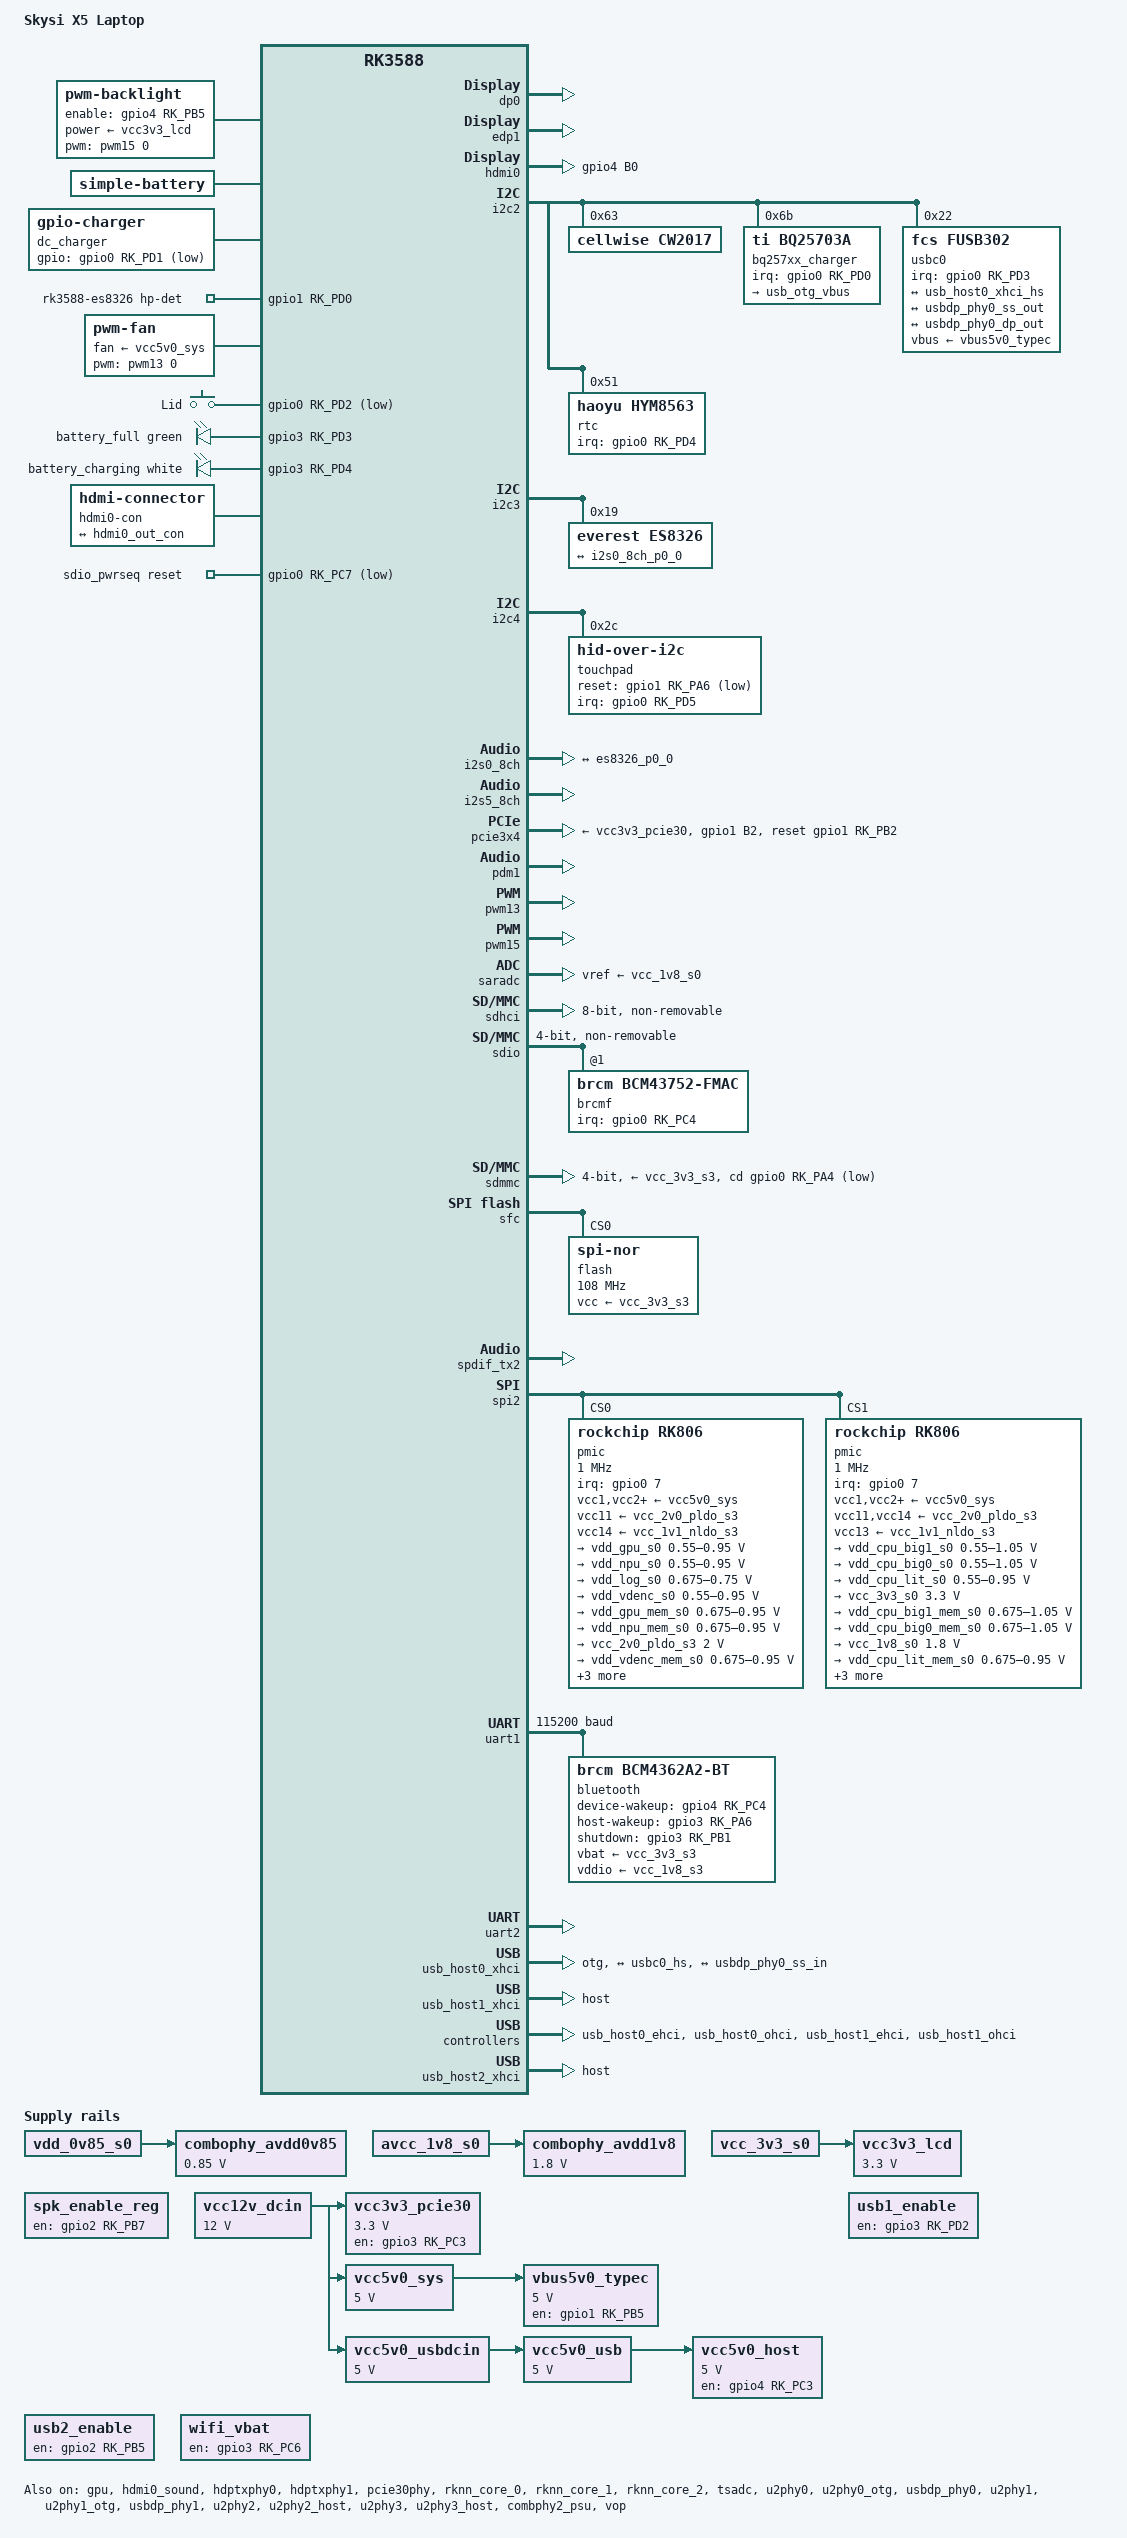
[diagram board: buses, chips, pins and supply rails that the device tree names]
// SPDX-License-Identifier: (GPL-2.0+ OR MIT)
/*
 * Copyright (c) 2026 Rockchip Electronics Co., Ltd.
 * Copyright (c) 2026 bingo1991
 */

/dts-v1/;

#include <dt-bindings/clock/rockchip,rk3588-cru.h>
#include <dt-bindings/gpio/gpio.h>
#include <dt-bindings/input/gpio-keys.h>
#include <dt-bindings/input/input.h>
#include <dt-bindings/leds/common.h>
#include <dt-bindings/pinctrl/rockchip.h>
#include <dt-bindings/pwm/pwm.h>
#include <dt-bindings/soc/rockchip,vop2.h>
#include <dt-bindings/usb/pd.h>
#include "rk3588.dtsi"

/ {
	model = "Skysi X5 Laptop";
	compatible = "rockchip,rk3588-yourland", "rockchip,rk3588-arm-pc", "rockchip,rk3588";
	chassis-type = "laptop";

	chosen {
		stdout-path = "serial2:1500000n8";
	};

	aliases {
		mmc0 = &sdhci;
		mmc1 = &sdmmc;
		mmc2 = &sdio;
		serial2 = &uart2;
	};

	backlight: backlight {
		compatible = "pwm-backlight";
		brightness-levels = <0 255>;
		default-brightness-level = <200>;
		enable-gpios = <&gpio4 RK_PB5 GPIO_ACTIVE_HIGH>;
		num-interpolated-steps = <255>;
		pinctrl-names = "default";
		pinctrl-0 = <&lcd_backlight_en>;
		power-supply = <&vcc3v3_lcd>;
		pwms = <&pwm15 0 25000 0>;
	};

	battery: battery {
		compatible = "simple-battery";
		charge-full-design-microamp-hours = <6000000>;
		constant-charge-current-max-microamp = <5000000>;
		constant-charge-voltage-max-microvolt = <8700000>;
		voltage-max-design-microvolt = <8700000>;
		voltage-min-design-microvolt = <7600000>;
		power-supplies = <&dc_charger &bq257xx_charger>;
	};

	dc_charger: dc-charger {
		compatible = "gpio-charger";
		charger-type = "mains";
		charge-current-limit-default-microamp = <5000000>;
		gpios = <&gpio0 RK_PD1 GPIO_ACTIVE_LOW>;
		pinctrl-names = "default";
		pinctrl-0 = <&dc_det>;
		wakeup-source;
	};
/*
	es7243e_sound: dmic-sound {
		compatible = "simple-audio-card";
		simple-audio-card,format = "i2s";
		simple-audio-card,name = "rk3588-dmic";
		simple-audio-card,mclk-fs = <256>;
		#sound-dai-cells = <0>; 

		simple-audio-card,cpu {
			bitclock-master;
			frame-master;
			sound-dai = <&i2s2_2ch>;
		};

		simple-audio-card,codec {
			sound-dai = <&es7243e>;
		};
	};
*/
	es8326_sound: es8326-sound {
		compatible = "audio-graph-card";
		label = "rk3588-es8326";

		widgets =
			"Headphone", "Headphones",
			"Speaker", "Speakers",
			"Microphone", "Headset Mic",
			"Microphone", "Main Mic";

		routing =
			"Headphones", "HPOL",
			"Headphones", "HPOR",
			"Speakers", "HPOL",
			"Speakers", "HPOR",
			"MIC1", "Headset Mic",
			"MIC2", "Main Mic";

		dais = <&i2s0_8ch_p0>;
		hp-det-gpios = <&gpio1 RK_PD0 GPIO_ACTIVE_HIGH>;
		pinctrl-names = "default";
		pinctrl-0 = <&hp_det>;
	};

	spk_enable_reg: regulator-spk-enable {
		compatible = "regulator-fixed";
		regulator-name = "spk_power";
		gpio = <&gpio2 RK_PB7 GPIO_ACTIVE_HIGH>;
		enable-active-high;
		regulator-always-on;
	};

	fan: pwm-fan {
		compatible = "pwm-fan";
		cooling-levels = <0 120 150 180 210 240 255>;
		fan-supply = <&vcc5v0_sys>;
		pwms = <&pwm13 0 50000 0>;
		#cooling-cells = <2>;
	};

	gpio_keys: gpio-keys {
		compatible = "gpio-keys";
		pinctrl-names = "default";
		pinctrl-0 = <&sw_lid>;

		switch-lid {
			debounce-interval = <20>;
			gpios = <&gpio0 RK_PD2 GPIO_ACTIVE_LOW>;
			label = "Lid";
			linux,code = <SW_LID>;
			linux,input-type = <EV_SW>;
			wakeup-source;
		};
	};

	gpio_leds: gpio-leds {
		compatible = "gpio-leds";
		pinctrl-names = "default";
		pinctrl-0 = <&leds_gpio>;

		charge_indicator: led1 {
			color = <LED_COLOR_ID_GREEN>;
			default-state = "off";
			gpios = <&gpio3 RK_PD3 GPIO_ACTIVE_HIGH>;
			label = "battery_full";
			linux,default-trigger = "cw2017-battery-full";
			retain-state-suspended;
		};

		power_indicator: led2 {
			color = <LED_COLOR_ID_WHITE>;
			default-state = "off";
			gpios = <&gpio3 RK_PD4 GPIO_ACTIVE_HIGH>;
			label = "battery_charging";
			linux,default-trigger = "cw2017-battery-charging";
			retain-state-suspended;
		};
	};

	hdmi0-con {
		compatible = "hdmi-connector";
		type = "a";

		port {
			hdmi0_con_in: endpoint {
				remote-endpoint = <&hdmi0_out_con>;
			};
		};
	};

	combophy_avdd0v85: regulator-combophy-avdd0v85 {
		compatible = "regulator-fixed";
		regulator-name = "combophy_avdd0v85";
		regulator-always-on;
		regulator-boot-on;
		regulator-min-microvolt = <850000>;
		regulator-max-microvolt = <850000>;
		vin-supply = <&vdd_0v85_s0>;
	};

	combophy_avdd1v8: regulator-combophy-avdd1v8 {
		compatible = "regulator-fixed";
		regulator-name = "combophy_avdd1v8";
		regulator-always-on;
		regulator-boot-on;
		regulator-min-microvolt = <1800000>;
		regulator-max-microvolt = <1800000>;
		vin-supply = <&avcc_1v8_s0>;
	};

	vbus5v0_typec: regulator-vbus5v0-typec {
		compatible = "regulator-fixed";
		enable-active-high;
		gpios = <&gpio1 RK_PB5 GPIO_ACTIVE_HIGH>;
		pinctrl-names = "default";
		pinctrl-0 = <&vbus5v0_typec_en>;
		regulator-max-microvolt = <5000000>;
		regulator-min-microvolt = <5000000>;
		regulator-name = "vbus5v0_typec";
		vin-supply = <&vcc5v0_sys>;
	};

	vcc12v_dcin: regulator-vcc12v-dcin {
		compatible = "regulator-fixed";
		regulator-always-on;
		regulator-boot-on;
		regulator-min-microvolt = <12000000>;
		regulator-max-microvolt = <12000000>;
		regulator-name = "vcc12v_dcin";
	};

	vcc3v3_lcd: regulator-vcc3v3-lcd {
		compatible = "regulator-fixed";
		regulator-boot-on;
		regulator-max-microvolt = <3300000>;
		regulator-min-microvolt = <3300000>;
		regulator-name = "vcc3v3_lcd";
		vin-supply = <&vcc_3v3_s0>;

		regulator-state-mem {
			// Screen power off in suspend state
			regulator-off-in-suspend;
		};
	};

	vcc3v3_pcie30: regulator-vcc3v3-pcie30 {
		compatible = "regulator-fixed";
		enable-active-high;
		gpios = <&gpio3 RK_PC3 GPIO_ACTIVE_HIGH>;
		pinctrl-names = "default";
		pinctrl-0 = <&vcc3v3_pcie30_en>;
		regulator-max-microvolt = <3300000>;
		regulator-min-microvolt = <3300000>;
		regulator-name = "vcc3v3_pcie30";
		startup-delay-us = <5000>;
		vin-supply = <&vcc12v_dcin>;
	};

	vcc5v0_host: regulator-vcc5v0-host {
		compatible = "regulator-fixed";
		enable-active-high;
		gpios = <&gpio4 RK_PC3 GPIO_ACTIVE_HIGH>;
		pinctrl-names = "default";
		pinctrl-0 = <&vcc5v0_host_en>;
		regulator-always-on;
		regulator-boot-on;
		regulator-max-microvolt = <5000000>;
		regulator-min-microvolt = <5000000>;
		regulator-name = "vcc5v0_host";
		vin-supply = <&vcc5v0_usb>;
	};

	vcc5v0_sys: regulator-vcc5v0-sys {
		compatible = "regulator-fixed";
		regulator-always-on;
		regulator-boot-on;
		regulator-max-microvolt = <5000000>;
		regulator-min-microvolt = <5000000>;
		regulator-name = "vcc5v0_sys";
		vin-supply = <&vcc12v_dcin>;
	};

	vcc5v0_usb: regulator-vcc5v0-usb {
		compatible = "regulator-fixed";
		regulator-always-on;
		regulator-boot-on;
		regulator-max-microvolt = <5000000>;
		regulator-min-microvolt = <5000000>;
		regulator-name = "vcc5v0_usb";
		vin-supply = <&vcc5v0_usbdcin>;
	};

	vcc5v0_usbdcin: regulator-vcc5v0-usbdcin {
		compatible = "regulator-fixed";
		regulator-always-on;
		regulator-boot-on;
		regulator-max-microvolt = <5000000>;
		regulator-min-microvolt = <5000000>;
		regulator-name = "vcc5v0_usbdcin";
		vin-supply = <&vcc12v_dcin>;
	};

	usb1_enable: regulator-usb1-enable {
		compatible = "regulator-fixed";
		regulator-name = "usb1_enable";
		gpio = <&gpio3 RK_PD2 GPIO_ACTIVE_HIGH>;
		enable-active-high;
		regulator-always-on;
		regulator-boot-on;
	};

	usb2_enable: regulator-usb2-enable {
		compatible = "regulator-fixed";
		regulator-name = "usb2_enable";
		gpio = <&gpio2 RK_PB5 GPIO_ACTIVE_HIGH>;
		enable-active-high;
		regulator-always-on;
		regulator-boot-on;
	};

	wifi_vbat: regulator-wifi-vbat {
		compatible = "regulator-fixed";
		enable-active-high;
		gpios = <&gpio3 RK_PC6 GPIO_ACTIVE_HIGH>;
		pinctrl-names = "default";
		pinctrl-0 = <&wifi_poweren_gpio>;
		regulator-always-on;
		regulator-boot-on;
		regulator-name = "wifi_vbat";
	};

	sdio_pwrseq: sdio-pwrseq {
		compatible = "mmc-pwrseq-simple";
		clocks = <&rtc>;
		clock-names = "ext_clock";
		pinctrl-names = "default";
		pinctrl-0 = <&wifi_enable_h>;
		/*
		 * On the module itself this is one of these (depending
		 * on the actual card populated):
		 * - SDIO_RESET_L_WL_REG_ON
		 * - PDN (power down when low)
		 */
		post-power-on-delay-ms = <200>;
		reset-gpios = <&gpio0 RK_PC7 GPIO_ACTIVE_LOW>;
	};
};

&cpu_b0 {
	cpu-supply = <&vdd_cpu_big0_s0>;
};

&cpu_b1 {
	cpu-supply = <&vdd_cpu_big0_s0>;
};

&cpu_b2 {
	cpu-supply = <&vdd_cpu_big1_s0>;
};

&cpu_b3 {
	cpu-supply = <&vdd_cpu_big1_s0>;
};

&cpu_l0 {
	cpu-supply = <&vdd_cpu_lit_s0>;
};

&cpu_l1 {
	cpu-supply = <&vdd_cpu_lit_s0>;
};

&cpu_l2 {
	cpu-supply = <&vdd_cpu_lit_s0>;
};

&cpu_l3 {
	cpu-supply = <&vdd_cpu_lit_s0>;
};

&dp0 {
	status = "okay";
};

&dp0_in {
	dp0_in_vp0: endpoint {
		remote-endpoint = <&vp0_out_dp0>;
	};
};

&dp0_out {
	dp0_out_con: endpoint {
		remote-endpoint = <&usbdp_phy0_dp_in>;
	};
};

&edp1 {
	force-hpd;
	status = "okay";

	aux-bus {
		panel {
			/* Autual panel is AUO B140HAN04.0, EDID timing not applicable
			   compatible with this BOE panel, bpc must set to 8 */
			compatible = "boe,nv140fhmn49";
			enable-gpios = <&gpio1 RK_PC4 GPIO_ACTIVE_HIGH>;
			backlight = <&backlight>;
			power-supply = <&vcc3v3_lcd>;
			no-hpd;

			port {
				panel_in_edp1: endpoint {
					remote-endpoint = <&edp1_out_panel>;
				};
			};
		};
	};
};

&edp1_in {
	edp1_in_vp2: endpoint {
		remote-endpoint = <&vp2_out_edp1>;
	};
};

&edp1_out {
	edp1_out_panel: endpoint {
		remote-endpoint = <&panel_in_edp1>;
	};
};

&gpu {
	mali-supply = <&vdd_gpu_s0>;
	sram-supply = <&vdd_gpu_mem_s0>;
	status = "okay";
};

&hdmi0 {
	frl-enable-gpios = <&gpio4 RK_PB0 GPIO_ACTIVE_HIGH>;
	pinctrl-names = "default";
	pinctrl-0 = <&hdmi_en &hdmim0_tx0_hpd
		     &hdmim0_tx0_scl &hdmim0_tx0_sda>;
	status = "okay";
};

&hdmi0_in {
	hdmi0_in_vp1: endpoint {
		remote-endpoint = <&vp1_out_hdmi0>;
	};
};

&hdmi0_out {
	hdmi0_out_con: endpoint {
		remote-endpoint = <&hdmi0_con_in>;
	};
};

&hdmi0_sound {
	status = "okay";
};

/* HDMI0/eDP0 Combo PHY, used as hdmi0 */
&hdptxphy0 {
	status = "okay";
};

/* HDMI1/eDP1 Combo PHY, used as edp1 */
&hdptxphy1 {
	status = "okay";
};

&i2c2 {
	i2c-scl-rising-time-ns = <600>;
	i2c-scl-falling-time-ns = <20>;
	status = "okay";

	cw2017@63 {
		compatible = "cellwise,cw2017";
		reg = <0x63>;

		cellwise,battery-profile = <
			0x32000000 0x00000000 0xa2bfc9f0 0xacb19755 0x42ffffff
			0xe0b39080 0x604a2480 0xacd995d3 0xd1cfcfcc 0xc9abee99
			0xbab7bb9f 0x8c817468 0x5b5d6f8a 0xa08f573d 0x00009002
			0x00000000 0x00006400 0x00000000 0x00000000 0x00000079
		>;

		cellwise,alert-level = <10>;
		cellwise,design-capacity-amh = <6000>;
		cellwise,dual-cell;
		cellwise,monitor-interval-ms = <3000>;
		monitored-battery = <&battery>;
		power-supplies = <&dc_charger &bq257xx_charger>;
		status = "okay";
	};

	bq257xx_charger: sc8886@6b {
		compatible = "ti,bq25703a";
		reg = <0x6b>;

		interrupt-parent = <&gpio0>;
		interrupts = <RK_PD0 IRQ_TYPE_LEVEL_LOW>;
		pinctrl-names = "default";
		pinctrl-0 = <&charger_int_h &otg_enable_h>;

		input-current-limit-microamp = <5000000>;
		monitored-battery = <&battery>;
		power-supplies = <&usbc0>;

		regulators {
			usb_otg_vbus: vbus {
				enable-gpios = <&gpio3 RK_PD5 GPIO_ACTIVE_HIGH>;
				regulator-max-microamp = <3000000>;
				regulator-min-microamp = <512000>;
				regulator-name = "usb_otg_vbus";
			};
		};
	};

	usbc0: fusb302@22 {
		compatible = "fcs,fusb302";
		reg = <0x22>;
		interrupt-parent = <&gpio0>;
		interrupts = <RK_PD3 IRQ_TYPE_LEVEL_LOW>;
		pinctrl-names = "default";
		pinctrl-0 = <&usbc0_int>;
		vbus-supply = <&vbus5v0_typec>;
		status = "okay";

		usb_con: connector {
			compatible = "usb-c-connector";
			data-role = "dual";
			label = "USB-C";
			/* fusb302 supports PD Rev 2.0 Ver 1.2 */
			pd-revision = /bits/ 8 <0x2 0x0 0x1 0x2>;
			op-sink-microwatt = <1000000>;
			power-role = "dual";
			sink-pdos =
				<PDO_FIXED(5000, 1000, PDO_FIXED_USB_COMM)
				 PDO_FIXED(15000, 3000, PDO_FIXED_USB_COMM)>;
			source-pdos = <PDO_FIXED(5000, 3000, PDO_FIXED_USB_COMM)>;
			try-power-role = "sink";

			altmodes {
				displayport {
					svid = /bits/ 16 <0xff01>;
					vdo = <0xffffffff>;
				};
			};

			ports {
				#address-cells = <1>;
				#size-cells = <0>;

				port@0 {
					reg = <0>;
					usbc0_hs: endpoint {
						remote-endpoint = <&usb_host0_xhci_hs>;
					};
				};

				port@1 {
					reg = <1>;
					usbc0_ss: endpoint {
						remote-endpoint = <&usbdp_phy0_ss_out>;
					};
				};

				port@2 {
					reg = <2>;
					usbc0_sbu: endpoint {
						remote-endpoint = <&usbdp_phy0_dp_out>;
					};
				};
			};
		};
	};

	/* AiP8563 RTC */
	rtc: aip8563@51 {
		compatible = "haoyu,hym8563";
		reg = <0x51>;
		#clock-cells = <0>;
		clock-output-names = "hym8563";
		interrupt-parent = <&gpio0>;
		interrupts = <RK_PD4 IRQ_TYPE_LEVEL_LOW>;
		pinctrl-names = "default";
		pinctrl-0 = <&rtc_int>;
		wakeup-source;
	};
};

&i2c3 {
	status = "okay";
/*
	es7243e: audio-adc@10 {
		compatible = "everest,es7243e";
		reg = <0x10>;
		clocks = <&cru I2S0_8CH_MCLKOUT>;
		clock-names = "mclk";
		#sound-dai-cells = <0>;

		work-mode = <0>;
		mclk-lrck-ratio = <256>;
		data-length = <0>;
		mclk-source = <1>;
		pga-gain-db = <9>;
	};
*/
	es8326: audio-codec@19 {
		compatible = "everest,es8326";
		reg = <0x19>;
		clocks = <&cru I2S0_8CH_MCLKOUT>;
		clock-names = "mclk";
		assigned-clocks = <&cru I2S0_8CH_MCLKOUT>;
		assigned-clock-rates = <12288000>;
		#sound-dai-cells = <0>;

		//interrupt-parent = <&gpio1>;
		//interrupts = <RK_PD0 GPIO_ACTIVE_LOW>;
		mic1-src = <22>;
		mic2-src = <44>;
		jack-pol = <07>;

		port {
			es8326_p0_0: endpoint {
				remote-endpoint = <&i2s0_8ch_p0_0>;
			};
		};
	};
};

/* for kaihong botbook only */
&i2c4 {
	pinctrl-names = "default";
	pinctrl-0 = <&i2c4m3_xfer>;
	status = "okay";

	touchpad: touchpad@2c {
		compatible = "hid-over-i2c";
		reg = <0x2c>;
		pinctrl-names = "default";
		pinctrl-0 = <&tp_reset_gpio &tp_irq_gpio>;
		interrupt-parent = <&gpio0>;
		interrupts = <RK_PD5 IRQ_TYPE_LEVEL_LOW>;
		reset-gpios = <&gpio1 RK_PA6 GPIO_ACTIVE_LOW>;
		hid-descr-addr = <0x20>;
		wakeup-source;
	};
};

/* I2S0 - ES8326 Audio Codec */
&i2s0_8ch {
	pinctrl-names = "default";
	pinctrl-0 = <&i2s0_lrck &i2s0_sclk &i2s0_sdi0 &i2s0_sdi1 &i2s0_sdi2 &i2s0_sdo0>;
	status = "okay";

	i2s0_8ch_p0: port {
		i2s0_8ch_p0_0: endpoint {
			dai-format = "i2s";
			mclk-fs = <256>;
			remote-endpoint = <&es8326_p0_0>;
		};
	};
};

/*
&i2s2_2ch {
	pinctrl-names = "default";
	pinctrl-0 = <&i2s2m0_sclk &i2s2m0_lrck &i2s2m0_sdi &i2s2m0_sdo>;
	status = "okay";
};
*/

/* HDMI0 audio */
&i2s5_8ch {
	status = "okay";
};

&pcie30phy {
	status = "okay";
};

/* PCIe 3.0 x4 NVme SSD */
&pcie3x4 {
	pinctrl-names = "default";
	pinctrl-0 = <&pcie3x4_rst>;
	reset-gpios = <&gpio1 RK_PB2 GPIO_ACTIVE_HIGH>;
	vpcie3v3-supply = <&vcc3v3_pcie30>;
	status = "okay";
};

&pdm1{
	pinctrl-names = "default";
	pinctrl-0 = <&pdm1m1_clk &pdm1m1_sdi0>;
	pinctrl-1 = <&pdm1m1_idle>;
	pinctrl-2 = <&pdm1m1_clk &pdm1m1_clk1>;
	status = "okay";
};

&pinctrl {
	audio {
		hp_det: hp-det {
			rockchip,pins = <1 RK_PD0 RK_FUNC_GPIO &pcfg_pull_down>;
		};

		spk_amp_enable_h: spk-amp-enable-h {
			rockchip,pins = <2 RK_PB7 RK_FUNC_GPIO &pcfg_output_high>;
		};
	};

	bluetooth {
		bt_reset_gpio: bt-reset-gpio {
			rockchip,pins = <3 RK_PB1 RK_FUNC_GPIO &pcfg_pull_none>;
		};

		bt_wake_gpio: bt-wake-gpio {
			rockchip,pins = <4 RK_PC4 RK_FUNC_GPIO &pcfg_pull_none>;
		};

		bt_irq_gpio: bt-irq-gpio {
			rockchip,pins = <3 RK_PA6 RK_FUNC_GPIO &pcfg_pull_down>;
		};
	};

	charger {
		charger_int_h: charger-int-h {
			rockchip,pins = <0 RK_PD0 RK_FUNC_GPIO &pcfg_pull_up>;
		};

		dc_det: dc-det {
			rockchip,pins = <0 RK_PD1 RK_FUNC_GPIO &pcfg_pull_up>;
		};

		otg_enable_h: otg-enable-h {
			rockchip,pins = <3 RK_PD5 RK_FUNC_GPIO &pcfg_pull_none>;
		};
	};

	display {
		hdmi_en: hdmi-en {
			rockchip,pins = <4 RK_PB0 RK_FUNC_GPIO &pcfg_output_high>;
		};

		lcd_backlight_en: lcd-backlight-en {
			rockchip,pins = <4 RK_PB5 RK_FUNC_GPIO &pcfg_pull_none>;
		};
	};

	gpio-keys {
		sw_lid: sw-lid {
			rockchip,pins = <0 RK_PD2 RK_FUNC_GPIO &pcfg_pull_up>;
		};
	};

	gpio-leds {
		leds_gpio: leds-gpio {
			rockchip,pins = <3 RK_PC1 RK_FUNC_GPIO &pcfg_output_high>;
		};
	};

	rtc {
		rtc_int: rtc-int {
			rockchip,pins = <0 RK_PD4 RK_FUNC_GPIO &pcfg_pull_up>;
		};
	};

	pcie3 {
		pcie3x4_rst: pcie3x4-rst {
			rockchip,pins = <1 RK_PB2 RK_FUNC_GPIO &pcfg_pull_none>;
		};

		vcc3v3_pcie30_en: vcc3v3-pcie30-en {
			rockchip,pins = <3 RK_PC3 RK_FUNC_GPIO &pcfg_pull_none>;
		};
	};

	sdio-pwrseq {
		wifi_enable_h: wifi-enable-h {
			rockchip,pins = <0 RK_PC7 RK_FUNC_GPIO &pcfg_pull_none>;
		};
	};

	toudchpad {
		tp_irq_gpio: pen-int-odl {
			rockchip,pins = <0 RK_PD5 RK_FUNC_GPIO &pcfg_pull_up>;
		};

		tp_reset_gpio: pen-reset-l {
			rockchip,pins = <1 RK_PA6 RK_FUNC_GPIO &pcfg_pull_none>;
		};
	};

	usb {
		vcc5v0_host_en: vcc5v0-host-en {
			rockchip,pins = <4 RK_PC3 RK_FUNC_GPIO &pcfg_pull_none>,
					<2 RK_PB6 RK_FUNC_GPIO &pcfg_output_high>,
					<3 RK_PC0 RK_FUNC_GPIO &pcfg_output_high>;
		};
	};

	usb-typec {
		usbc0_int: usbc0-int {
			rockchip,pins = <0 RK_PD3 RK_FUNC_GPIO &pcfg_pull_up>;
		};

		usbc0_sbu1: usbc0-sbu1 {
			rockchip,pins = <4 RK_PA6 RK_FUNC_GPIO &pcfg_pull_none>;
		};

		usbc0_sbu2: usbc0-sbu2 {
			rockchip,pins = <4 RK_PA7 RK_FUNC_GPIO &pcfg_pull_none>;
		};

		vbus5v0_typec_en: vbus5v0-typec-en {
			rockchip,pins = <1 RK_PB5 RK_FUNC_GPIO &pcfg_pull_none>;
		};
	};

	wireless-wlan {
		wifi_host_wake_irq: wifi-host-wake-irq {
			rockchip,pins = <0 RK_PC4 RK_FUNC_GPIO &pcfg_pull_down>;
		};

		wifi_poweren_gpio: wifi-poweren-gpio {
			rockchip,pins = <3 RK_PC6 RK_FUNC_GPIO &pcfg_pull_up>;
		};
	};
};

&pwm13 {
	pinctrl-0 = <&pwm13m1_pins>;
	status = "okay";
};

&pwm15 {
	pinctrl-names = "default";
	pinctrl-0 = <&pwm15m1_pins>;
	status = "okay";
};

&rknn_core_0 {
	npu-supply = <&vdd_npu_s0>;
	sram-supply = <&vdd_npu_mem_s0>;
	status = "okay";
};

&rknn_core_1 {
	npu-supply = <&vdd_npu_s0>;
	sram-supply = <&vdd_npu_mem_s0>;
	status = "okay";
};

&rknn_core_2 {
	npu-supply = <&vdd_npu_s0>;
	sram-supply = <&vdd_npu_mem_s0>;
	status = "okay";
};

&rknn_mmu_0 {
	status = "okay";
};

&rknn_mmu_1 {
	status = "okay";
};

&rknn_mmu_2 {
	status = "okay";
};

&saradc {
	vref-supply = <&vcc_1v8_s0>;
	status = "okay";
};

/* eMMC */
&sdhci {
	bus-width = <8>;
	max-frequency = <200000000>;
	mmc-hs400-1_8v;
	mmc-hs400-enhanced-strobe;
	non-removable;
	no-sd;
	no-sdio;
	status = "okay";
};

/* WiFi */
&sdio {
	#address-cells = <1>;
	#size-cells = <0>;
	pinctrl-names = "default";
	pinctrl-0 = <&sdiom1_pins>;

	bus-width = <4>;
	cap-sd-highspeed;
	cap-sdio-irq;
	disable-wp;
	keep-power-in-suspend;
	max-frequency = <150000000>;
	mmc-pwrseq = <&sdio_pwrseq>;
	no-mmc;
	non-removable;
	no-sd;
	sd-uhs-sdr104;
	status = "okay";

	brcmf: wifi@1 {
		compatible = "brcm,bcm43752-fmac";
		reg = <1>;
		interrupt-parent = <&gpio0>;
		interrupts = <RK_PC4 IRQ_TYPE_LEVEL_HIGH>;	/* WL_HOST_WAKE */
		interrupt-names = "host-wake";
		pinctrl-0 = <&wifi_host_wake_irq>;
		pinctrl-names = "default";
	};
};

/* Micro SD Card */
&sdmmc {
	bus-width = <4>;
	cap-mmc-highspeed;
	cap-sd-highspeed;
	cd-gpios = <&gpio0 RK_PA4 GPIO_ACTIVE_LOW>;
	disable-wp;
	max-frequency = <150000000>;
	no-sdio;
	no-mmc;
	pinctrl-names = "default";
	pinctrl-0 = <&sdmmc_bus4 &sdmmc_clk &sdmmc_cmd &sdmmc_det>;
	sd-uhs-sdr104;
	vmmc-supply = <&vcc_3v3_s3>;
	vqmmc-supply = <&vccio_sd_s0>;
	status = "okay";
};

&sfc {
	pinctrl-names = "default";
	pinctrl-0 = <&fspim1_pins>;
	status = "okay";

	flash@0 {
		compatible = "jedec,spi-nor";
		reg = <0x0>;
		spi-max-frequency = <108000000>;
		spi-rx-bus-width = <2>;
		spi-tx-bus-width = <2>;
		vcc-supply = <&vcc_3v3_s3>;
	};
};

&spdif_tx2 {
	status = "okay";
};

&spi2 {
	assigned-clocks = <&cru CLK_SPI2>;
	assigned-clock-rates = <200000000>;
	num-cs = <2>;
	status = "okay";

	pmic@0 {
		compatible = "rockchip,rk806";
		reg = <0x0>;
		#gpio-cells = <2>;
		gpio-controller;
		interrupt-parent = <&gpio0>;
		interrupts = <7 IRQ_TYPE_LEVEL_LOW>;
		pinctrl-names = "default";
		pinctrl-0 = <&pmic_pins>, <&rk806_dvs1_null>,
			    <&rk806_dvs2_null>, <&rk806_dvs3_null>;
		spi-max-frequency = <1000000>;
		system-power-controller;

		vcc1-supply = <&vcc5v0_sys>;
		vcc2-supply = <&vcc5v0_sys>;
		vcc3-supply = <&vcc5v0_sys>;
		vcc4-supply = <&vcc5v0_sys>;
		vcc5-supply = <&vcc5v0_sys>;
		vcc6-supply = <&vcc5v0_sys>;
		vcc7-supply = <&vcc5v0_sys>;
		vcc8-supply = <&vcc5v0_sys>;
		vcc9-supply = <&vcc5v0_sys>;
		vcc10-supply = <&vcc5v0_sys>;
		vcc11-supply = <&vcc_2v0_pldo_s3>;
		vcc12-supply = <&vcc5v0_sys>;
		vcc13-supply = <&vcc5v0_sys>;
		vcc14-supply = <&vcc_1v1_nldo_s3>;
		vcca-supply = <&vcc5v0_sys>;

		rk806_dvs1_null: dvs1-null-pins {
			pins = "gpio_pwrctrl1";
			function = "pin_fun0";
		};

		rk806_dvs2_null: dvs2-null-pins {
			pins = "gpio_pwrctrl2";
			function = "pin_fun0";
		};

		rk806_dvs3_null: dvs3-null-pins {
			pins = "gpio_pwrctrl3";
			function = "pin_fun0";
		};

		regulators {
			vdd_gpu_s0: dcdc-reg1 {
				regulator-name = "vdd_gpu_s0";
				/* regulator coupling requires always-on */
				regulator-always-on;
				regulator-boot-on;
				regulator-enable-ramp-delay = <400>;
				regulator-min-microvolt = <550000>;
				regulator-max-microvolt = <950000>;
				regulator-ramp-delay = <12500>;
				regulator-coupled-with = <&vdd_gpu_mem_s0>;
				regulator-coupled-max-spread = <10000>;

				regulator-state-mem {
					regulator-off-in-suspend;
				};
			};

			vdd_npu_s0: dcdc-reg2 {
				regulator-name = "vdd_npu_s0";
				regulator-always-on;
				regulator-boot-on;
				regulator-min-microvolt = <550000>;
				regulator-max-microvolt = <950000>;
				regulator-ramp-delay = <12500>;

				regulator-state-mem {
					regulator-off-in-suspend;
				};
			};

			vdd_log_s0: dcdc-reg3 {
				regulator-name = "vdd_log_s0";
				regulator-always-on;
				regulator-boot-on;
				regulator-min-microvolt = <675000>;
				regulator-max-microvolt = <750000>;
				regulator-ramp-delay = <12500>;

				regulator-state-mem {
					regulator-off-in-suspend;
					regulator-suspend-microvolt = <750000>;
				};
			};

			vdd_vdenc_s0: dcdc-reg4 {
				regulator-name = "vdd_vdenc_s0";
				regulator-always-on;
				regulator-boot-on;
				regulator-min-microvolt = <550000>;
				regulator-max-microvolt = <950000>;
				regulator-ramp-delay = <12500>;

				regulator-state-mem {
					regulator-off-in-suspend;
				};
			};

			vdd_gpu_mem_s0: dcdc-reg5 {
				regulator-name = "vdd_gpu_mem_s0";
				/* regulator coupling requires always-on */
				regulator-always-on;
				regulator-boot-on;
				regulator-enable-ramp-delay = <400>;
				regulator-min-microvolt = <675000>;
				regulator-max-microvolt = <950000>;
				regulator-ramp-delay = <12500>;
				regulator-coupled-with = <&vdd_gpu_s0>;
				regulator-coupled-max-spread = <10000>;

				regulator-state-mem {
					regulator-off-in-suspend;
				};
			};

			vdd_npu_mem_s0: dcdc-reg6 {
				regulator-name = "vdd_npu_mem_s0";
				regulator-always-on;
				regulator-boot-on;
				regulator-min-microvolt = <675000>;
				regulator-max-microvolt = <950000>;
				regulator-ramp-delay = <12500>;

				regulator-state-mem {
					regulator-off-in-suspend;
				};
			};

			vcc_2v0_pldo_s3: dcdc-reg7 {
				regulator-name = "vdd_2v0_pldo_s3";
				regulator-always-on;
				regulator-boot-on;
				regulator-min-microvolt = <2000000>;
				regulator-max-microvolt = <2000000>;
				regulator-ramp-delay = <12500>;

				regulator-state-mem {
					regulator-on-in-suspend;
					regulator-suspend-microvolt = <2000000>;
				};
			};

			vdd_vdenc_mem_s0: dcdc-reg8 {
				regulator-name = "vdd_vdenc_mem_s0";
				regulator-always-on;
				regulator-boot-on;
				regulator-min-microvolt = <675000>;
				regulator-max-microvolt = <950000>;
				regulator-ramp-delay = <12500>;

				regulator-state-mem {
					regulator-off-in-suspend;
				};
			};

			vdd2_ddr_s3: dcdc-reg9 {
				regulator-name = "vdd2_ddr_s3";
				regulator-always-on;
				regulator-boot-on;

				regulator-state-mem {
					regulator-on-in-suspend;
				};
			};

			vcc_1v1_nldo_s3: dcdc-reg10 {
				regulator-name = "vcc_1v1_nldo_s3";
				regulator-always-on;
				regulator-boot-on;
				regulator-min-microvolt = <1100000>;
				regulator-max-microvolt = <1100000>;
				regulator-ramp-delay = <12500>;

				regulator-state-mem {
					regulator-on-in-suspend;
					regulator-suspend-microvolt = <1100000>;
				};
			};

			avcc_1v8_s0: pldo-reg1 {
				regulator-name = "avcc_1v8_s0";
				regulator-always-on;
				regulator-boot-on;
				regulator-min-microvolt = <1800000>;
				regulator-max-microvolt = <1800000>;
				regulator-ramp-delay = <12500>;

				regulator-state-mem {
					regulator-on-in-suspend;
					regulator-suspend-microvolt = <1800000>;
				};
			};

			vdd1_1v8_ddr_s3: pldo-reg2 {
				regulator-name = "vdd1_1v8_ddr_s3";
				regulator-always-on;
				regulator-boot-on;
				regulator-min-microvolt = <1800000>;
				regulator-max-microvolt = <1800000>;
				regulator-ramp-delay = <12500>;

				regulator-state-mem {
					regulator-on-in-suspend;
					regulator-suspend-microvolt = <1800000>;
				};
			};

			avcc_1v8_codec_s0: pldo-reg3 {
				regulator-name = "avcc_1v8_codec_s0";
				regulator-always-on;
				regulator-boot-on;
				regulator-min-microvolt = <1800000>;
				regulator-max-microvolt = <1800000>;
				regulator-ramp-delay = <12500>;

				regulator-state-mem {
					regulator-off-in-suspend;
				};
			};

			vcc_3v3_s3: pldo-reg4 {
				regulator-name = "vcc_3v3_s3";
				regulator-always-on;
				regulator-boot-on;
				regulator-min-microvolt = <3300000>;
				regulator-max-microvolt = <3300000>;
				regulator-ramp-delay = <12500>;

				regulator-state-mem {
					regulator-on-in-suspend;
					regulator-suspend-microvolt = <3300000>;
				};
			};

			vccio_sd_s0: pldo-reg5 {
				regulator-name = "vccio_sd_s0";
				regulator-always-on;
				regulator-boot-on;
				regulator-min-microvolt = <1800000>;
				regulator-max-microvolt = <3300000>;
				regulator-ramp-delay = <12500>;

				regulator-state-mem {
					regulator-off-in-suspend;
				};
			};

			vcc_1v8_s3: pldo-reg6 {
				regulator-name = "vcc_1v8_s3";
				regulator-always-on;
				regulator-boot-on;
				regulator-min-microvolt = <1800000>;
				regulator-max-microvolt = <1800000>;
				regulator-ramp-delay = <12500>;

				regulator-state-mem {
					regulator-on-in-suspend;
					regulator-suspend-microvolt = <1800000>;
				};
			};

			vdd_0v75_s3: nldo-reg1 {
				regulator-name = "vdd_0v75_s3";
				regulator-always-on;
				regulator-boot-on;
				regulator-min-microvolt = <750000>;
				regulator-max-microvolt = <750000>;
				regulator-ramp-delay = <12500>;

				regulator-state-mem {
					regulator-on-in-suspend;
					regulator-suspend-microvolt = <750000>;
				};
			};

			vdd2l_0v9_ddr_s3: nldo-reg2 {
				regulator-name = "vdd2l_0v9_ddr_s3";
				regulator-always-on;
				regulator-boot-on;
				regulator-min-microvolt = <900000>;
				regulator-max-microvolt = <900000>;

				regulator-state-mem {
					regulator-on-in-suspend;
					regulator-suspend-microvolt = <900000>;
				};
			};

			vdd_0v75_hdmi_edp_s0: nldo-reg3 {
				regulator-name = "vdd_0v75_hdmi_edp_s0";
				regulator-always-on;
				regulator-boot-on;
				regulator-min-microvolt = <750000>;
				regulator-max-microvolt = <750000>;

				regulator-state-mem {
					regulator-off-in-suspend;
				};
			};

			avdd_0v75_s0: nldo-reg4 {
				regulator-name = "avdd_0v75_s0";
				regulator-always-on;
				regulator-boot-on;
				regulator-min-microvolt = <750000>;
				regulator-max-microvolt = <750000>;

				regulator-state-mem {
					regulator-on-in-suspend;
					regulator-suspend-microvolt = <750000>;
				};
			};

			vdd_0v85_s0: nldo-reg5 {
				regulator-name = "vdd_0v85_s0";
				regulator-always-on;
				regulator-boot-on;
				regulator-min-microvolt = <850000>;
				regulator-max-microvolt = <850000>;

				regulator-state-mem {
					regulator-off-in-suspend;
				};
			};
		};
	};

	pmic@1 {
		compatible = "rockchip,rk806";
		reg = <0x01>;
		#gpio-cells = <2>;
		gpio-controller;
		interrupt-parent = <&gpio0>;
		interrupts = <7 IRQ_TYPE_LEVEL_LOW>;
		pinctrl-0 = <&rk806_slave_dvs1_null>, <&rk806_slave_dvs2_null>,
			    <&rk806_slave_dvs3_null>;
		pinctrl-names = "default";
		spi-max-frequency = <1000000>;

		vcc1-supply = <&vcc5v0_sys>;
		vcc2-supply = <&vcc5v0_sys>;
		vcc3-supply = <&vcc5v0_sys>;
		vcc4-supply = <&vcc5v0_sys>;
		vcc5-supply = <&vcc5v0_sys>;
		vcc6-supply = <&vcc5v0_sys>;
		vcc7-supply = <&vcc5v0_sys>;
		vcc8-supply = <&vcc5v0_sys>;
		vcc9-supply = <&vcc5v0_sys>;
		vcc10-supply = <&vcc5v0_sys>;
		vcc11-supply = <&vcc_2v0_pldo_s3>;
		vcc12-supply = <&vcc5v0_sys>;
		vcc13-supply = <&vcc_1v1_nldo_s3>;
		vcc14-supply = <&vcc_2v0_pldo_s3>;
		vcca-supply = <&vcc5v0_sys>;

		rk806_slave_dvs1_null: dvs1-null-pins {
			pins = "gpio_pwrctrl1";
			function = "pin_fun0";
		};

		rk806_slave_dvs2_null: dvs2-null-pins {
			pins = "gpio_pwrctrl2";
			function = "pin_fun0";
		};

		rk806_slave_dvs3_null: dvs3-null-pins {
			pins = "gpio_pwrctrl3";
			function = "pin_fun0";
		};

		regulators {
			vdd_cpu_big1_s0: dcdc-reg1 {
				regulator-name = "vdd_cpu_big1_s0";
				regulator-always-on;
				regulator-boot-on;
				regulator-coupled-with = <&vdd_cpu_big1_mem_s0>;
				regulator-coupled-max-spread = <10000>;
				regulator-min-microvolt = <550000>;
				regulator-max-microvolt = <1050000>;
				regulator-ramp-delay = <12500>;

				regulator-state-mem {
					regulator-off-in-suspend;
				};
			};

			vdd_cpu_big0_s0: dcdc-reg2 {
				regulator-name = "vdd_cpu_big0_s0";
				regulator-always-on;
				regulator-boot-on;
				regulator-coupled-with = <&vdd_cpu_big0_mem_s0>;
				regulator-coupled-max-spread = <10000>;
				regulator-min-microvolt = <550000>;
				regulator-max-microvolt = <1050000>;
				regulator-ramp-delay = <12500>;

				regulator-state-mem {
					regulator-off-in-suspend;
				};
			};

			vdd_cpu_lit_s0: dcdc-reg3 {
				regulator-name = "vdd_cpu_lit_s0";
				regulator-always-on;
				regulator-boot-on;
				regulator-coupled-with = <&vdd_cpu_lit_mem_s0>;
				regulator-coupled-max-spread = <10000>;
				regulator-min-microvolt = <550000>;
				regulator-max-microvolt = <950000>;
				regulator-ramp-delay = <12500>;

				regulator-state-mem {
					regulator-off-in-suspend;
				};
			};

			vcc_3v3_s0: dcdc-reg4 {
				regulator-name = "vcc_3v3_s0";
				regulator-always-on;
				regulator-boot-on;
				regulator-min-microvolt = <3300000>;
				regulator-max-microvolt = <3300000>;
				regulator-ramp-delay = <12500>;

				regulator-state-mem {
					regulator-off-in-suspend;
				};
			};

			vdd_cpu_big1_mem_s0: dcdc-reg5 {
				regulator-name = "vdd_cpu_big1_mem_s0";
				regulator-always-on;
				regulator-boot-on;
				regulator-coupled-with = <&vdd_cpu_big1_s0>;
				regulator-coupled-max-spread = <10000>;
				regulator-min-microvolt = <675000>;
				regulator-max-microvolt = <1050000>;
				regulator-ramp-delay = <12500>;

				regulator-state-mem {
					regulator-off-in-suspend;
				};
			};


			vdd_cpu_big0_mem_s0: dcdc-reg6 {
				regulator-name = "vdd_cpu_big0_mem_s0";
				regulator-always-on;
				regulator-boot-on;
				regulator-coupled-with = <&vdd_cpu_big0_s0>;
				regulator-coupled-max-spread = <10000>;
				regulator-min-microvolt = <675000>;
				regulator-max-microvolt = <1050000>;
				regulator-ramp-delay = <12500>;

				regulator-state-mem {
					regulator-off-in-suspend;
				};
			};

			vcc_1v8_s0: dcdc-reg7 {
				regulator-name = "vcc_1v8_s0";
				regulator-always-on;
				regulator-boot-on;
				regulator-min-microvolt = <1800000>;
				regulator-max-microvolt = <1800000>;
				regulator-ramp-delay = <12500>;

				regulator-state-mem {
					regulator-off-in-suspend;
				};
			};

			vdd_cpu_lit_mem_s0: dcdc-reg8 {
				regulator-name = "vdd_cpu_lit_mem_s0";
				regulator-always-on;
				regulator-boot-on;
				regulator-coupled-with = <&vdd_cpu_lit_s0>;
				regulator-coupled-max-spread = <10000>;
				regulator-min-microvolt = <675000>;
				regulator-max-microvolt = <950000>;
				regulator-ramp-delay = <12500>;

				regulator-state-mem {
					regulator-off-in-suspend;
				};
			};

			vddq_ddr_s0: dcdc-reg9 {
				regulator-name = "vddq_ddr_s0";
				regulator-always-on;
				regulator-boot-on;

				regulator-state-mem {
					regulator-off-in-suspend;
				};
			};

			vdd_ddr_s0: dcdc-reg10 {
				regulator-name = "vdd_ddr_s0";
				regulator-always-on;
				regulator-boot-on;
				regulator-min-microvolt = <675000>;
				regulator-max-microvolt = <900000>;
				regulator-ramp-delay = <12500>;

				regulator-state-mem {
					regulator-off-in-suspend;
				};
			};

			vcc_1v8_cam_s0: pldo-reg1 {
				regulator-name = "vcc_1v8_cam_s0";
				regulator-always-on;
				regulator-boot-on;
				regulator-min-microvolt = <1800000>;
				regulator-max-microvolt = <1800000>;
				regulator-ramp-delay = <12500>;

				regulator-state-mem {
					regulator-off-in-suspend;
				};
			};

			avdd1v8_ddr_pll_s0: pldo-reg2 {
				regulator-name = "avdd1v8_ddr_pll_s0";
				regulator-always-on;
				regulator-boot-on;
				regulator-min-microvolt = <1800000>;
				regulator-max-microvolt = <1800000>;
				regulator-ramp-delay = <12500>;

				regulator-state-mem {
					regulator-off-in-suspend;
				};
			};

			vdd_1v8_pll_s0: pldo-reg3 {
				regulator-name = "vdd_1v8_pll_s0";
				regulator-always-on;
				regulator-boot-on;
				regulator-min-microvolt = <1800000>;
				regulator-max-microvolt = <1800000>;
				regulator-ramp-delay = <12500>;

				regulator-state-mem {
					regulator-on-in-suspend;
					regulator-suspend-microvolt = <1800000>;
				};
			};

			vcc_3v3_sd_s0: pldo-reg4 {
				regulator-name = "vcc_3v3_sd_s0";
				regulator-always-on;
				regulator-boot-on;
				regulator-min-microvolt = <3300000>;
				regulator-max-microvolt = <3300000>;
				regulator-ramp-delay = <12500>;

				regulator-state-mem {
					regulator-off-in-suspend;
				};
			};

			vcc_2v8_cam_s0: pldo-reg5 {
				regulator-name = "vcc_2v8_cam_s0";
				regulator-always-on;
				regulator-boot-on;
				regulator-min-microvolt = <2800000>;
				regulator-max-microvolt = <2800000>;
				regulator-ramp-delay = <12500>;

				regulator-state-mem {
					regulator-off-in-suspend;
				};
			};

			pldo6_s3: pldo-reg6 {
				regulator-name = "pldo6_s3";
				regulator-always-on;
				regulator-boot-on;
				regulator-min-microvolt = <1800000>;
				regulator-max-microvolt = <1800000>;

				regulator-state-mem {
					regulator-on-in-suspend;
					regulator-suspend-microvolt = <1800000>;
				};
			};

			vdd_0v75_pll_s0: nldo-reg1 {
				regulator-name = "vdd_0v75_pll_s0";
				regulator-always-on;
				regulator-boot-on;
				regulator-min-microvolt = <750000>;
				regulator-max-microvolt = <750000>;
				regulator-ramp-delay = <12500>;

				regulator-state-mem {
					regulator-off-in-suspend;
				};
			};

			vdd_ddr_pll_s0: nldo-reg2 {
				regulator-name = "vdd_ddr_pll_s0";
				regulator-always-on;
				regulator-boot-on;
				regulator-min-microvolt = <850000>;
				regulator-max-microvolt = <850000>;

				regulator-state-mem {
					regulator-off-in-suspend;
				};
			};

			avdd_0v85_s0: nldo-reg3 {
				regulator-name = "avdd_0v85_s0";
				regulator-always-on;
				regulator-boot-on;
				regulator-min-microvolt = <850000>;
				regulator-max-microvolt = <850000>;
				regulator-ramp-delay = <12500>;

				regulator-state-mem {
					regulator-off-in-suspend;
				};
			};

			avdd_1v2_cam_s0: nldo-reg4 {
				regulator-name = "avdd_1v2_cam_s0";
				regulator-always-on;
				regulator-boot-on;
				regulator-min-microvolt = <1200000>;
				regulator-max-microvolt = <1200000>;
				regulator-ramp-delay = <12500>;

				regulator-state-mem {
					regulator-off-in-suspend;
				};
			};

			avdd_1v2_s0: nldo-reg5 {
				regulator-name = "avdd_1v2_s0";
				regulator-always-on;
				regulator-boot-on;
				regulator-min-microvolt = <1200000>;
				regulator-max-microvolt = <1200000>;
				regulator-ramp-delay = <12500>;

				regulator-state-mem {
					regulator-off-in-suspend;
				};
			};
		};
	};
};

&tsadc {
	status = "okay";
};

/* Bluetooth */
&uart1 {
	current-speed = <115200>;
	pinctrl-names = "default";
	pinctrl-0 = <&uart1m1_xfer &uart1m1_ctsn &uart1m1_rtsn>;
	uart-has-rtscts;
	status = "okay";

	bluetooth {
		compatible = "brcm,bcm4362a2-bt", "brcm,bcm43430a1-bt";
		clocks = <&rtc>;
		clock-names = "lpo";
		device-wakeup-gpios = <&gpio4 RK_PC4 GPIO_ACTIVE_HIGH>;	/* BT_WAKE */
		host-wakeup-gpios = <&gpio3 RK_PA6 GPIO_ACTIVE_HIGH>; 	/* BT_HOST_WAKE */
		shutdown-gpios = <&gpio3 RK_PB1 GPIO_ACTIVE_HIGH>;	/* BT_REG_ON */
		pinctrl-names = "default";
		pinctrl-0 = <&bt_reset_gpio>, <&bt_wake_gpio>, <&bt_irq_gpio>;
		vbat-supply = <&vcc_3v3_s3>;
		vddio-supply = <&vcc_1v8_s3>;
		firmware-name = "brcm/BCM4362A2.hcd";
	};
};

/* Debug UART */
&uart2 {
	pinctrl-names = "default";
	pinctrl-0 = <&uart2m0_xfer>;
	status = "okay";
};

/* Left USB 3.0 Type-C OTG Port */
&u2phy0 {
	status = "okay";
};

&u2phy0_otg {
	phy-supply = <&vbus5v0_typec>;
	status = "okay";
};

&usbdp_phy0 {		// fed80000
	mode-switch;
	orientation-switch;
	pinctrl-names = "default";
	pinctrl-0 = <&usbc0_sbu1 &usbc0_sbu2>;
	sbu1-dc-gpios = <&gpio4 RK_PA6 GPIO_ACTIVE_HIGH>;
	sbu2-dc-gpios = <&gpio4 RK_PA7 GPIO_ACTIVE_HIGH>;
	status = "okay";

	ports {
		#address-cells = <1>;
		#size-cells = <0>;

		port@0 {
			reg = <0>;
			usbdp_phy0_ss_out: endpoint {
				remote-endpoint = <&usbc0_ss>;
			};
		};

		port@1 {
			reg = <1>;
			usbdp_phy0_ss_in: endpoint {
				remote-endpoint = <&usb_host0_xhci_ss>;
			};
		};

		port@2 {
			reg = <2>;
			usbdp_phy0_dp_in: endpoint {
				remote-endpoint = <&dp0_out_con>;
			};
		};

		port@3 {
			reg = <3>;
			usbdp_phy0_dp_out: endpoint {
				remote-endpoint = <&usbc0_sbu>;
			};
		};
	};
};

&usb_host0_xhci {	// fc000000, PHYs: <&u2phy0_otg>, <&usbdp_phy0 PHY_TYPE_USB3>
	dr_mode = "otg";
	usb-role-switch;
	status = "okay";

	ports {
		#address-cells = <1>;
		#size-cells = <0>;

		port@0 {
			reg = <0>;
			usb_host0_xhci_hs: endpoint {
				remote-endpoint = <&usbc0_hs>;
			};
		};

		port@1 {
			reg = <1>;
			usb_host0_xhci_ss: endpoint {
				remote-endpoint = <&usbdp_phy0_ss_in>;
			};
		};
	};
};

/* Left USB 3.0 Type-A Host Port */
&u2phy1 {
	status = "okay";
};

&u2phy1_otg {
	status = "okay";
};

&usbdp_phy1 {		// fed90000
	phy-supply = <&vcc5v0_usb>;
	status = "okay";
};

&usb_host1_xhci {	// USB 3.x, fc400000, PHYs: <&u2phy1_otg>, <&usbdp_phy1 PHY_TYPE_USB3>
	dr_mode = "host";
	extcon = <&u2phy1>;
	status = "okay";
};

/* Inner USB 2.0: USB Camera */
&u2phy2 {
	status = "okay";
};

&u2phy2_host {
	phy-supply = <&vcc5v0_usb>;
	status = "okay";
};

&usb_host0_ehci {	// fc800000, PHY: <&u2phy2_host>
	status = "okay";
};

&usb_host0_ohci {	// fc840000, PHY: <&u2phy2_host>
	status = "okay";
};

/* Right USB 2.0 Hub with dual Type-A Port */
&u2phy3 {
	status = "okay";
};

&u2phy3_host {
	phy-supply = <&vcc5v0_usb>;
	status = "okay";
};

&usb_host1_ehci {	// fc880000, PHY: <&u2phy3_host>
	status = "okay";
};

&usb_host1_ohci {	// fc8c0000, PHY: <&u2phy3_host>
	status = "okay";
};

/* Inner on-board USB*/
&combphy2_psu {		// fee20000
	status = "okay";
};

&usb_host2_xhci {	// fcd00000, PHY: <&combphy2_psu PHY_TYPE_USB3>
	dr_mode = "host";
	status = "okay";
};

&vop {
	assigned-clocks = <&cru DCLK_VOP2_SRC>;
	assigned-clock-parents = <&cru PLL_V0PLL>;
	status = "okay";
};

&vop_mmu {
	status = "okay";
};

&vp0 {
	vp0_out_dp0: endpoint@a {
		reg = <ROCKCHIP_VOP2_EP_DP0>;
		remote-endpoint = <&dp0_in_vp0>;
	};
};

&vp1 {
	vp1_out_hdmi0: endpoint@ROCKCHIP_VOP2_EP_HDMI0 {
		reg = <ROCKCHIP_VOP2_EP_HDMI0>;
		remote-endpoint = <&hdmi0_in_vp1>;
	};
};

&vp2 {
	vp2_out_edp1: endpoint@ROCKCHIP_VOP2_EP_EDP1 {
		reg = <ROCKCHIP_VOP2_EP_EDP1>;
		remote-endpoint = <&edp1_in_vp2>;
	};
};
